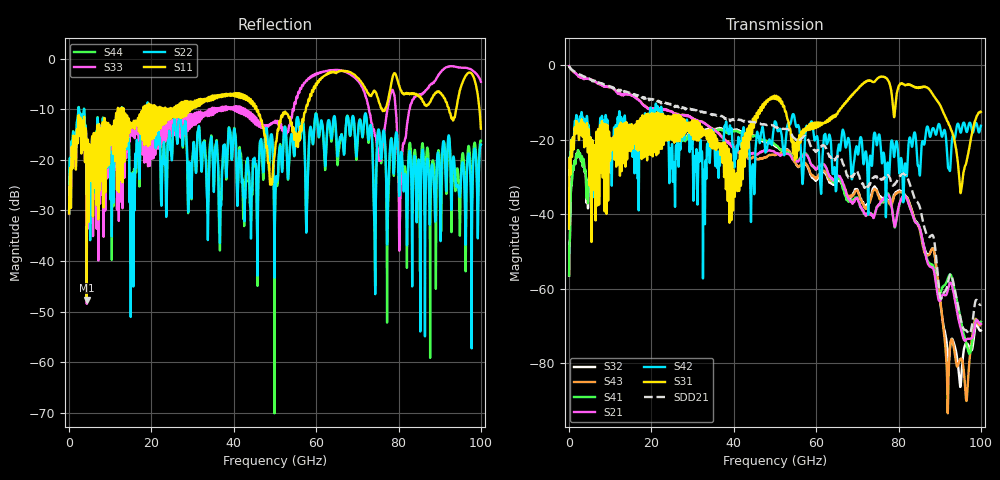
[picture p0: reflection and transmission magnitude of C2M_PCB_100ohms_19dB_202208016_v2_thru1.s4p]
! Info: Touchstone file created by Circ.  Input file=Intel_C2M_200G_6p5in_202208016_staggered.circ
# Hz S RI R 50
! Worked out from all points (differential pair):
!   10000 points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, 10 MHz to 100 GHz, reference 50 ohm
!   strongest paths, dB at 10 MHz, 25.01 GHz, 50.01 GHz, 75.01 GHz, 100 GHz:
!     S31: -43.9, -16.1, -8.7, -3.4, -12.5
!     S42: -43.8, -21.2, -15.1, -19.7, -16.3
!     S21: -0.2, -12.5, -23.5, -37.7, -69.5
!     S41: -56.5, -19.6, -21.3, -37.7, -68.9
!     S43: -0.2, -12.5, -24.1, -34.8, -69.5
!     S32: -56.5, -19.3, -21.7, -34.3, -71.2
!   taken as a pair (ports 1,3 in; 2,4 out), SDD21 dB: -0.2, -10.5, -16.6, -30.4, -64.2
!   lowest |S11| = -47.7 dB at 4.3 GHz (marker M1), VSWR 1.01, Z = 49.9 - j0.394 ohm
!   |S11| at or under -10 dB: start of sweep to 11.82 GHz; 13.22 GHz to 18.01 GHz (4.789 GHz wide, 30.7 % of centre); 45.53 GHz to 57.5 GHz (11.97 GHz wide, 23.2 % of centre)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
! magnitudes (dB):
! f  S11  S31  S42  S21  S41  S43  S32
! 10 MHz  -30.6  -43.9  -43.8  -0.2  -56.5  -0.2  -56.5
! 4.3 GHz  -47.7  -15.7  -13.7  -3.6  -34.9  -3.6  -36.0
! 43.99 GHz  -8.1  -19.6  -30.9  -23.9  -18.7  -25.1  -18.4
! 80.85 GHz  -6.8  -4.8  -26.7  -35.5  -35.7  -34.2  -33.9
! 91.87 GHz  -9.3  -15.1  -25.5  -60.8  -57.6  -88.9  -77.0
! 95.19 GHz  -5.4  -33.7  -17.9  -71.0  -68.8  -78.8  -84.8
! 100 GHz  -13.8  -12.5  -16.3  -69.5  -68.9  -69.5  -71.2
